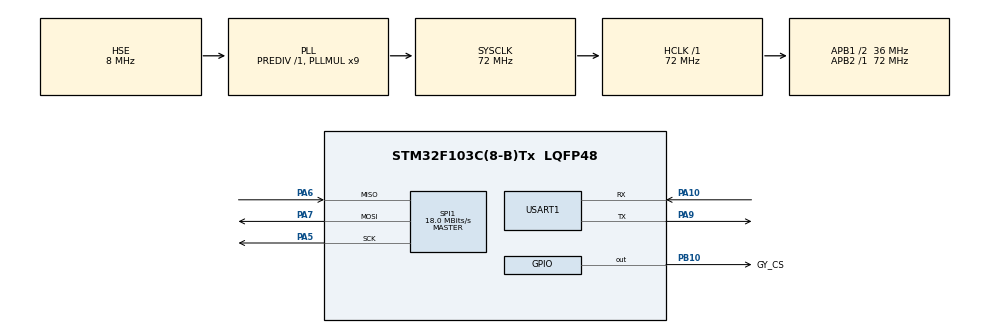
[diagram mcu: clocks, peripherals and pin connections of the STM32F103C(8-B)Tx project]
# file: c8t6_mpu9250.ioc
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Mcu.Family=STM32F1
Mcu.Name=STM32F103C(8-B)Tx
Mcu.Package=LQFP48
NVIC.PriorityGroup=NVIC_PRIORITYGROUP_4
NVIC.USART1_IRQn=true\:0\:0\:false\:false\:true\:true\:true
PA10.Mode=Asynchronous
PA10.Signal=USART1_RX
PA13.Mode=Serial_Wire
PA13.Signal=SYS_JTMS-SWDIO
PA14.Mode=Serial_Wire
PA14.Signal=SYS_JTCK-SWCLK
PA5.Mode=Full_Duplex_Master
PA5.Signal=SPI1_SCK
PA6.Mode=Full_Duplex_Master
PA6.Signal=SPI1_MISO
PA7.Mode=Full_Duplex_Master
PA7.Signal=SPI1_MOSI
PA9.Mode=Asynchronous
PA9.Signal=USART1_TX
PB10.GPIO_Label=GY_CS
PB10.GPIO_Speed=GPIO_SPEED_FREQ_HIGH
PB10.PinState=GPIO_PIN_SET
PB10.Signal=GPIO_Output
PC14-OSC32_IN.Mode=LSE-External-Oscillator
PC14-OSC32_IN.Signal=RCC_OSC32_IN
PC15-OSC32_OUT.Mode=LSE-External-Oscillator
PC15-OSC32_OUT.Signal=RCC_OSC32_OUT
PD0-OSC_IN.Mode=HSE-External-Oscillator
PD0-OSC_IN.Signal=RCC_OSC_IN
PD1-OSC_OUT.Mode=HSE-External-Oscillator
PD1-OSC_OUT.Signal=RCC_OSC_OUT
ProjectManager.HeapSize=0x200
ProjectManager.StackSize=0x400
ProjectManager.TargetToolchain=STM32CubeIDE
RCC.AHBFreq_Value=72000000
RCC.APB1CLKDivider=RCC_HCLK_DIV2
RCC.APB1Freq_Value=36000000
RCC.APB1TimFreq_Value=72000000
RCC.APB2Freq_Value=72000000
RCC.APB2TimFreq_Value=72000000
RCC.HCLKFreq_Value=72000000
RCC.PLLMUL=RCC_PLL_MUL9
RCC.PLLSourceVirtual=RCC_PLLSOURCE_HSE
RCC.SYSCLKFreq_VALUE=72000000
RCC.SYSCLKSource=RCC_SYSCLKSOURCE_PLLCLK
RCC.USBFreq_Value=72000000
SPI1.BaudRatePrescaler=SPI_BAUDRATEPRESCALER_4
SPI1.CalculateBaudRate=18.0 MBits/s
SPI1.Direction=SPI_DIRECTION_2LINES
SPI1.Mode=SPI_MODE_MASTER
SPI1.VirtualType=VM_MASTER
USART1.VirtualMode=VM_ASYNC
board=custom

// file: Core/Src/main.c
/* USER CODE BEGIN Header */
/**
 ******************************************************************************
 * @file           : main.c
 * @brief          : Main program body
 ******************************************************************************
 * @attention
 *
 * <h2><center>&copy; Copyright (c) 2021 STMicroelectronics.
 * All rights reserved.</center></h2>
 *
 * This software component is licensed by ST under BSD 3-Clause license,
 * the "License"; You may not use this file except in compliance with the
 * License. You may obtain a copy of the License at:
 *                        opensource.org/licenses/BSD-3-Clause
 *
 ******************************************************************************
 */
/* USER CODE END Header */
#include "main.h"
#include "spi.h"
#include "usart.h"
#include "gpio.h"

/* USER CODE BEGIN Includes */
#include "mpu9250.h"
/* USER CODE END Includes */

/* USER CODE BEGIN PV */
uint8_t ak8963_WhoAmI = 0;
uint8_t mpu9250_WhoAmI = 0;
MPU9250 mpu;
/* USER CODE END PV */

void SystemClock_Config(void);

int main(void) {

	/* MCU Configuration--------------------------------------------------------*/

	/* Reset of all peripherals, Initializes the Flash interface and the Systick. */
	HAL_Init();

	/* Configure the system clock */
	SystemClock_Config();

	/* Initialize all configured peripherals */
	MX_GPIO_Init();
	MX_SPI1_Init();
	MX_USART1_UART_Init();
	/* USER CODE BEGIN 2 */
	MPU9250_Init(&mpu);
	/* USER CODE END 2 */

	/* Infinite loop */
	/* USER CODE BEGIN WHILE */
	u1_printf("System start up!\n");
	while (1) {
		ak8963_WhoAmI = mpu_r_ak8963_WhoAmI(&mpu);
		mpu9250_WhoAmI = mpu_r_WhoAmI(&mpu);
		MPU9250_ReadAccel(&mpu);
		MPU9250_ReadGyro(&mpu);
		MPU9250_ReadMag(&mpu);
		u1_printf("AK8963: 0x%x\nMPU9250: 0x%x\n", ak8963_WhoAmI,
				mpu9250_WhoAmI);
		u1_printf("AX:%d \tAY:%d\t AZ:%d\n", mpu.mpu_data.Accel_row[0],
				mpu.mpu_data.Accel_row[1], mpu.mpu_data.Accel_row[2]);
		u1_printf("AX:%.3f \tAY:%.3f\t AZ:%.3f\n", mpu.mpu_data.Accel[0],
				mpu.mpu_data.Accel[1], mpu.mpu_data.Accel[2]);
		u1_printf("GX:%d \tGY:%d\t GZ:%d\n", mpu.mpu_data.Gyro_row[0],
				mpu.mpu_data.Gyro_row[1], mpu.mpu_data.Gyro_row[2]);
		u1_printf("GX:%.3f \tGY:%.3f\t GZ:%.3f\n", mpu.mpu_data.Gyro[0],
				mpu.mpu_data.Gyro[1], mpu.mpu_data.Gyro[2]);
		u1_printf("MX:%d \tMY:%d\t MZ:%d\n", mpu.mpu_data.Magn_row[0],
				mpu.mpu_data.Magn_row[1], mpu.mpu_data.Magn_row[2]);
		u1_printf("MX:%.3f \tMY:%.3f\t MZ:%.3f\n", mpu.mpu_data.Magn[0],
				mpu.mpu_data.Magn[1], mpu.mpu_data.Magn[2]);
		u1_printf("*************************\n");

		HAL_Delay(50);
		/* USER CODE END WHILE */

	}
}

void SystemClock_Config(void) {
	RCC_OscInitTypeDef RCC_OscInitStruct = { 0 };
	RCC_ClkInitTypeDef RCC_ClkInitStruct = { 0 };

	/** Initializes the RCC Oscillators according to the specified parameters
	 * in the RCC_OscInitTypeDef structure.
	 */
	RCC_OscInitStruct.OscillatorType = RCC_OSCILLATORTYPE_HSE;
	RCC_OscInitStruct.HSEState = RCC_HSE_ON;
	RCC_OscInitStruct.HSEPredivValue = RCC_HSE_PREDIV_DIV1;
	RCC_OscInitStruct.HSIState = RCC_HSI_ON;
	RCC_OscInitStruct.PLL.PLLState = RCC_PLL_ON;
	RCC_OscInitStruct.PLL.PLLSource = RCC_PLLSOURCE_HSE;
	RCC_OscInitStruct.PLL.PLLMUL = RCC_PLL_MUL9;
	if (HAL_RCC_OscConfig(&RCC_OscInitStruct) != HAL_OK) {
		Error_Handler();
	}
	/** Initializes the CPU, AHB and APB buses clocks
	 */
	RCC_ClkInitStruct.ClockType = RCC_CLOCKTYPE_HCLK | RCC_CLOCKTYPE_SYSCLK
			| RCC_CLOCKTYPE_PCLK1 | RCC_CLOCKTYPE_PCLK2;
	RCC_ClkInitStruct.SYSCLKSource = RCC_SYSCLKSOURCE_PLLCLK;
	RCC_ClkInitStruct.AHBCLKDivider = RCC_SYSCLK_DIV1;
	RCC_ClkInitStruct.APB1CLKDivider = RCC_HCLK_DIV2;
	RCC_ClkInitStruct.APB2CLKDivider = RCC_HCLK_DIV1;

	if (HAL_RCC_ClockConfig(&RCC_ClkInitStruct, FLASH_LATENCY_2) != HAL_OK) {
		Error_Handler();
	}
}

void Error_Handler(void) {
	__disable_irq();
	while (1) {
	}
}

/************************ (C) COPYRIGHT STMicroelectronics *****END OF FILE****/
